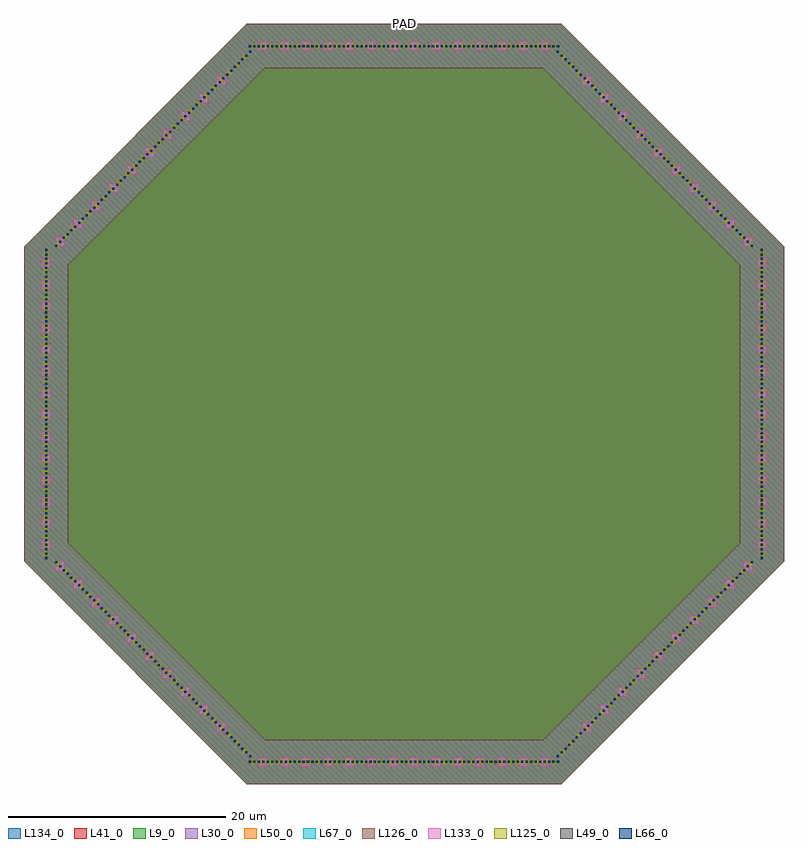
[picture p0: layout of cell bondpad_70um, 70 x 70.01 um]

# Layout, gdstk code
import gdstk
lib = gdstk.Library(unit=1e-6, precision=1e-09)
def R(c, l, rs):  # rectangles x0, y0, x1, y1
    for r in rs: c.add(gdstk.rectangle(r[:2], r[2:], *l))
def A(c, l, x, y, w, h, nx, ny, dx, dy):  # array of equal rectangles
    R(c, l, [(x+i*dx, y+j*dy, x+i*dx+w, y+j*dy+h) for i in range(nx) for j in range(ny)])
def P(c, l, *ps):  # polygons
    for p in ps: c.add(gdstk.Polygon(p, *l))
L9_0 = (9, 0)
L30_0 = (30, 0)
L41_0 = (41, 0)
L49_0 = (49, 0)
L50_0 = (50, 0)
L66_0 = (66, 0)
L67_0 = (67, 0)
L125_0 = (125, 0)
L126_0 = (126, 0)
L133_0 = (133, 0)
L134_0 = (134, 0)

bondpad_70um = lib.new_cell('bondpad_70um')
P(bondpad_70um, L9_0, [(-13.63,-32.9),(-32.9,-13.63),(-32.9,13.63),(-13.63,32.9),(13.63,32.9),(32.9,13.63),(32.9,-13.63),(13.63,-32.9)])
P(bondpad_70um, L30_0, [(-14.5,-35.005),(-35,-14.505),(-35,0),(-30.93,0),(-30.93,-12.815),(-12.815,-30.93),(12.815,-30.93),(30.93,-12.815),(30.93,12.815),(12.815,30.93),(-12.815,30.93),(-30.93,12.815),(-30.93,0),(-35,0),(-35,14.505),(-14.5,35.005),(14.5,35.005),(35,14.505),(35,-14.505),(14.5,-35.005)])
P(bondpad_70um, L41_0, [(-14.5,-35.005),(-35,-14.505),(-35,14.505),(-14.5,35.005),(14.5,35.005),(35,14.505),(35,-14.505),(14.5,-35.005)])
A(bondpad_70um, L49_0, -14.28, -33.06, 0.19, 0.19, 5, 2, 0.41, 65.93)
A(bondpad_70um, L49_0, -12.225, -33.06, 0.19, 0.19, 4, 2, 0.41, 65.93)
A(bondpad_70um, L49_0, -10.58, -33.06, 0.19, 0.19, 4, 2, 0.41, 65.93)
A(bondpad_70um, L49_0, -8.935, -33.06, 0.19, 0.19, 5, 2, 0.41, 65.93)
A(bondpad_70um, L49_0, -6.88, -33.06, 0.19, 0.19, 4, 2, 0.41, 65.93)
A(bondpad_70um, L49_0, -5.235, -33.06, 0.19, 0.19, 4, 2, 0.41, 65.93)
A(bondpad_70um, L49_0, -3.59, -33.06, 0.19, 0.19, 5, 2, 0.41, 65.93)
A(bondpad_70um, L49_0, -1.535, -33.06, 0.19, 0.19, 4, 2, 0.41, 65.93)
A(bondpad_70um, L49_0, 0.11, -33.06, 0.19, 0.19, 4, 2, 0.41, 65.93)
A(bondpad_70um, L49_0, 1.755, -33.06, 0.19, 0.19, 5, 2, 0.41, 65.93)
A(bondpad_70um, L49_0, 3.81, -33.06, 0.19, 0.19, 4, 2, 0.41, 65.93)
A(bondpad_70um, L49_0, 5.455, -33.06, 0.19, 0.19, 4, 2, 0.41, 65.93)
A(bondpad_70um, L49_0, 7.1, -33.06, 0.19, 0.19, 5, 2, 0.41, 65.93)
A(bondpad_70um, L49_0, 9.155, -33.06, 0.19, 0.19, 4, 2, 0.41, 65.93)
A(bondpad_70um, L49_0, 10.8, -33.06, 0.19, 0.19, 4, 2, 0.41, 65.93)
A(bondpad_70um, L49_0, 12.445, -33.06, 0.19, 0.19, 4, 2, 0.41, 65.93)
A(bondpad_70um, L49_0, -33.06, -14.28, 0.19, 0.19, 1, 5, 0, 0.41)
A(bondpad_70um, L49_0, 32.87, -14.28, 0.19, 0.19, 1, 5, 0, 0.41)
A(bondpad_70um, L49_0, -33.06, -12.225, 0.19, 0.19, 1, 4, 0, 0.41)
A(bondpad_70um, L49_0, 32.87, -12.225, 0.19, 0.19, 1, 4, 0, 0.41)
A(bondpad_70um, L49_0, -33.06, -10.58, 0.19, 0.19, 1, 4, 0, 0.41)
A(bondpad_70um, L49_0, 32.87, -10.58, 0.19, 0.19, 1, 4, 0, 0.41)
A(bondpad_70um, L49_0, -33.06, -8.935, 0.19, 0.19, 1, 5, 0, 0.41)
A(bondpad_70um, L49_0, 32.87, -8.935, 0.19, 0.19, 1, 5, 0, 0.41)
A(bondpad_70um, L49_0, -33.06, -6.88, 0.19, 0.19, 1, 4, 0, 0.41)
A(bondpad_70um, L49_0, 32.87, -6.88, 0.19, 0.19, 1, 4, 0, 0.41)
A(bondpad_70um, L49_0, -33.06, -5.235, 0.19, 0.19, 1, 4, 0, 0.41)
A(bondpad_70um, L49_0, 32.87, -5.235, 0.19, 0.19, 1, 4, 0, 0.41)
A(bondpad_70um, L49_0, -33.06, -3.59, 0.19, 0.19, 1, 5, 0, 0.41)
A(bondpad_70um, L49_0, 32.87, -3.59, 0.19, 0.19, 1, 5, 0, 0.41)
A(bondpad_70um, L49_0, -33.06, -1.535, 0.19, 0.19, 1, 4, 0, 0.41)
A(bondpad_70um, L49_0, 32.87, -1.535, 0.19, 0.19, 1, 4, 0, 0.41)
A(bondpad_70um, L49_0, -33.06, 0.11, 0.19, 0.19, 1, 4, 0, 0.41)
A(bondpad_70um, L49_0, 32.87, 0.11, 0.19, 0.19, 1, 4, 0, 0.41)
A(bondpad_70um, L49_0, -33.06, 1.755, 0.19, 0.19, 1, 5, 0, 0.41)
A(bondpad_70um, L49_0, 32.87, 1.755, 0.19, 0.19, 1, 5, 0, 0.41)
A(bondpad_70um, L49_0, -33.06, 3.81, 0.19, 0.19, 1, 4, 0, 0.41)
A(bondpad_70um, L49_0, 32.87, 3.81, 0.19, 0.19, 1, 4, 0, 0.41)
A(bondpad_70um, L49_0, -33.06, 5.455, 0.19, 0.19, 1, 4, 0, 0.41)
A(bondpad_70um, L49_0, 32.87, 5.455, 0.19, 0.19, 1, 4, 0, 0.41)
A(bondpad_70um, L49_0, -33.06, 7.1, 0.19, 0.19, 1, 5, 0, 0.41)
A(bondpad_70um, L49_0, 32.87, 7.1, 0.19, 0.19, 1, 5, 0, 0.41)
A(bondpad_70um, L49_0, -33.06, 9.155, 0.19, 0.19, 1, 4, 0, 0.41)
A(bondpad_70um, L49_0, 32.87, 9.155, 0.19, 0.19, 1, 4, 0, 0.41)
A(bondpad_70um, L49_0, -33.06, 10.8, 0.19, 0.19, 1, 4, 0, 0.41)
A(bondpad_70um, L49_0, 32.87, 10.8, 0.19, 0.19, 1, 4, 0, 0.41)
A(bondpad_70um, L49_0, -33.06, 12.445, 0.19, 0.19, 1, 4, 0, 0.41)
A(bondpad_70um, L49_0, 32.87, 12.445, 0.19, 0.19, 1, 4, 0, 0.41)
R(bondpad_70um, L49_0, [(14.09,-33.06,14.28,-32.87), (-14.275,-32.54,-14.085,-32.35), (14.085,-32.54,14.275,-32.35), (-14.625,-32.19,-14.435,-32), (14.435,-32.19,14.625,-32), (-14.975,-31.84,-14.785,-31.65), (14.785,-31.84,14.975,-31.65), (-15.325,-31.49,-15.135,-31.3), (15.135,-31.49,15.325,-31.3), (-15.675,-31.14,-15.485,-30.95), (15.485,-31.14,15.675,-30.95), (-16.025,-30.79,-15.835,-30.6), (15.835,-30.79,16.025,-30.6), (-16.375,-30.44,-16.185,-30.25), (16.185,-30.44,16.375,-30.25), (-16.725,-30.09,-16.535,-29.9), (16.535,-30.09,16.725,-29.9), (-17.075,-29.74,-16.885,-29.55), (16.885,-29.74,17.075,-29.55), (-17.425,-29.39,-17.235,-29.2), (17.235,-29.39,17.425,-29.2), (-17.775,-29.04,-17.585,-28.85), (17.585,-29.04,17.775,-28.85), (-18.125,-28.69,-17.935,-28.5), (17.935,-28.69,18.125,-28.5), (-18.475,-28.34,-18.285,-28.15), (18.285,-28.34,18.475,-28.15), (-18.825,-27.99,-18.635,-27.8), (18.635,-27.99,18.825,-27.8), (-19.175,-27.64,-18.985,-27.45), (18.985,-27.64,19.175,-27.45), (-19.525,-27.29,-19.335,-27.1), (19.335,-27.29,19.525,-27.1), (-19.875,-26.94,-19.685,-26.75), (19.685,-26.94,19.875,-26.75), (-20.225,-26.59,-20.035,-26.4), (20.035,-26.59,20.225,-26.4), (-20.575,-26.24,-20.385,-26.05), (20.385,-26.24,20.575,-26.05), (-20.925,-25.89,-20.735,-25.7), (20.735,-25.89,20.925,-25.7), (-21.275,-25.54,-21.085,-25.35), (21.085,-25.54,21.275,-25.35), (-21.625,-25.19,-21.435,-25), (21.435,-25.19,21.625,-25), (-21.975,-24.84,-21.785,-24.65), (21.785,-24.84,21.975,-24.65), (-22.325,-24.49,-22.135,-24.3), (22.135,-24.49,22.325,-24.3), (-22.675,-24.14,-22.485,-23.95), (22.485,-24.14,22.675,-23.95), (-23.025,-23.79,-22.835,-23.6), (22.835,-23.79,23.025,-23.6), (-23.375,-23.44,-23.185,-23.25), (23.185,-23.44,23.375,-23.25), (-23.725,-23.09,-23.535,-22.9), (23.535,-23.09,23.725,-22.9), (-24.075,-22.74,-23.885,-22.55), (23.885,-22.74,24.075,-22.55), (-24.425,-22.39,-24.235,-22.2), (24.235,-22.39,24.425,-22.2), (-24.775,-22.04,-24.585,-21.85), (24.585,-22.04,24.775,-21.85), (-25.125,-21.69,-24.935,-21.5), (24.935,-21.69,25.125,-21.5), (-25.475,-21.34,-25.285,-21.15), (25.285,-21.34,25.475,-21.15), (-25.825,-20.99,-25.635,-20.8), (25.635,-20.99,25.825,-20.8), (-26.175,-20.64,-25.985,-20.45), (25.985,-20.64,26.175,-20.45), (-26.525,-20.29,-26.335,-20.1), (26.335,-20.29,26.525,-20.1), (-26.875,-19.94,-26.685,-19.75), (26.685,-19.94,26.875,-19.75), (-27.225,-19.59,-27.035,-19.4), (27.035,-19.59,27.225,-19.4), (-27.575,-19.24,-27.385,-19.05), (27.385,-19.24,27.575,-19.05), (-27.925,-18.89,-27.735,-18.7), (27.735,-18.89,27.925,-18.7), (-28.275,-18.54,-28.085,-18.35), (28.085,-18.54,28.275,-18.35), (-28.625,-18.19,-28.435,-18), (28.435,-18.19,28.625,-18), (-28.975,-17.84,-28.785,-17.65), (28.785,-17.84,28.975,-17.65), (-29.325,-17.49,-29.135,-17.3), (29.135,-17.49,29.325,-17.3), (-29.675,-17.14,-29.485,-16.95), (29.485,-17.14,29.675,-16.95), (-30.025,-16.79,-29.835,-16.6), (29.835,-16.79,30.025,-16.6), (-30.375,-16.44,-30.185,-16.25), (30.185,-16.44,30.375,-16.25), (-30.725,-16.09,-30.535,-15.9), (30.535,-16.09,30.725,-15.9), (-31.075,-15.74,-30.885,-15.55), (30.885,-15.74,31.075,-15.55), (-31.425,-15.39,-31.235,-15.2), (31.235,-15.39,31.425,-15.2), (-31.775,-15.04,-31.585,-14.85), (31.585,-15.04,31.775,-14.85), (-32.125,-14.69,-31.935,-14.5), (31.935,-14.69,32.125,-14.5), (-33.06,14.09,-32.87,14.28), (32.87,14.09,33.06,14.28), (-32.125,14.5,-31.935,14.69), (31.935,14.5,32.125,14.69), (-31.775,14.85,-31.585,15.04), (31.585,14.85,31.775,15.04), (-31.425,15.2,-31.235,15.39), (31.235,15.2,31.425,15.39), (-31.075,15.55,-30.885,15.74), (30.885,15.55,31.075,15.74), (-30.725,15.9,-30.535,16.09), (30.535,15.9,30.725,16.09), (-30.375,16.25,-30.185,16.44), (30.185,16.25,30.375,16.44), (-30.025,16.6,-29.835,16.79), (29.835,16.6,30.025,16.79), (-29.675,16.95,-29.485,17.14), (29.485,16.95,29.675,17.14), (-29.325,17.3,-29.135,17.49), (29.135,17.3,29.325,17.49), (-28.975,17.65,-28.785,17.84), (28.785,17.65,28.975,17.84), (-28.625,18,-28.435,18.19), (28.435,18,28.625,18.19), (-28.275,18.35,-28.085,18.54), (28.085,18.35,28.275,18.54), (-27.925,18.7,-27.735,18.89), (27.735,18.7,27.925,18.89), (-27.575,19.05,-27.385,19.24), (27.385,19.05,27.575,19.24), (-27.225,19.4,-27.035,19.59), (27.035,19.4,27.225,19.59), (-26.875,19.75,-26.685,19.94), (26.685,19.75,26.875,19.94), (-26.525,20.1,-26.335,20.29), (26.335,20.1,26.525,20.29), (-26.175,20.45,-25.985,20.64), (25.985,20.45,26.175,20.64), (-25.825,20.8,-25.635,20.99), (25.635,20.8,25.825,20.99), (-25.475,21.15,-25.285,21.34), (25.285,21.15,25.475,21.34), (-25.125,21.5,-24.935,21.69), (24.935,21.5,25.125,21.69), (-24.775,21.85,-24.585,22.04), (24.585,21.85,24.775,22.04), (-24.425,22.2,-24.235,22.39), (24.235,22.2,24.425,22.39), (-24.075,22.55,-23.885,22.74), (23.885,22.55,24.075,22.74), (-23.725,22.9,-23.535,23.09), (23.535,22.9,23.725,23.09), (-23.375,23.25,-23.185,23.44), (23.185,23.25,23.375,23.44), (-23.025,23.6,-22.835,23.79), (22.835,23.6,23.025,23.79), (-22.675,23.95,-22.485,24.14), (22.485,23.95,22.675,24.14), (-22.325,24.3,-22.135,24.49), (22.135,24.3,22.325,24.49), (-21.975,24.65,-21.785,24.84), (21.785,24.65,21.975,24.84), (-21.625,25,-21.435,25.19), (21.435,25,21.625,25.19), (-21.275,25.35,-21.085,25.54), (21.085,25.35,21.275,25.54), (-20.925,25.7,-20.735,25.89), (20.735,25.7,20.925,25.89), (-20.575,26.05,-20.385,26.24), (20.385,26.05,20.575,26.24), (-20.225,26.4,-20.035,26.59), (20.035,26.4,20.225,26.59), (-19.875,26.75,-19.685,26.94), (19.685,26.75,19.875,26.94), (-19.525,27.1,-19.335,27.29), (19.335,27.1,19.525,27.29), (-19.175,27.45,-18.985,27.64), (18.985,27.45,19.175,27.64), (-18.825,27.8,-18.635,27.99), (18.635,27.8,18.825,27.99), (-18.475,28.15,-18.285,28.34), (18.285,28.15,18.475,28.34), (-18.125,28.5,-17.935,28.69), (17.935,28.5,18.125,28.69), (-17.775,28.85,-17.585,29.04), (17.585,28.85,17.775,29.04), (-17.425,29.2,-17.235,29.39), (17.235,29.2,17.425,29.39), (-17.075,29.55,-16.885,29.74), (16.885,29.55,17.075,29.74), (-16.725,29.9,-16.535,30.09), (16.535,29.9,16.725,30.09), (-16.375,30.25,-16.185,30.44), (16.185,30.25,16.375,30.44), (-16.025,30.6,-15.835,30.79), (15.835,30.6,16.025,30.79), (-15.675,30.95,-15.485,31.14), (15.485,30.95,15.675,31.14), (-15.325,31.3,-15.135,31.49), (15.135,31.3,15.325,31.49), (-14.975,31.65,-14.785,31.84), (14.785,31.65,14.975,31.84), (-14.625,32,-14.435,32.19), (14.435,32,14.625,32.19), (-14.275,32.35,-14.085,32.54), (14.085,32.35,14.275,32.54), (14.09,32.87,14.28,33.06)])
P(bondpad_70um, L50_0, [(-14.5,-35.005),(-35,-14.505),(-35,0),(-30.93,0),(-30.93,-12.815),(-12.815,-30.93),(12.815,-30.93),(30.93,-12.815),(30.93,12.815),(12.815,30.93),(-12.815,30.93),(-30.93,12.815),(-30.93,0),(-35,0),(-35,14.505),(-14.5,35.005),(14.5,35.005),(35,14.505),(35,-14.505),(14.5,-35.005)])
A(bondpad_70um, L66_0, -14.28, -33.06, 0.19, 0.19, 5, 2, 0.41, 65.93)
A(bondpad_70um, L66_0, -12.225, -33.06, 0.19, 0.19, 4, 2, 0.41, 65.93)
A(bondpad_70um, L66_0, -10.58, -33.06, 0.19, 0.19, 4, 2, 0.41, 65.93)
A(bondpad_70um, L66_0, -8.935, -33.06, 0.19, 0.19, 5, 2, 0.41, 65.93)
A(bondpad_70um, L66_0, -6.88, -33.06, 0.19, 0.19, 4, 2, 0.41, 65.93)
A(bondpad_70um, L66_0, -5.235, -33.06, 0.19, 0.19, 4, 2, 0.41, 65.93)
A(bondpad_70um, L66_0, -3.59, -33.06, 0.19, 0.19, 5, 2, 0.41, 65.93)
A(bondpad_70um, L66_0, -1.535, -33.06, 0.19, 0.19, 4, 2, 0.41, 65.93)
A(bondpad_70um, L66_0, 0.11, -33.06, 0.19, 0.19, 4, 2, 0.41, 65.93)
A(bondpad_70um, L66_0, 1.755, -33.06, 0.19, 0.19, 5, 2, 0.41, 65.93)
A(bondpad_70um, L66_0, 3.81, -33.06, 0.19, 0.19, 4, 2, 0.41, 65.93)
A(bondpad_70um, L66_0, 5.455, -33.06, 0.19, 0.19, 4, 2, 0.41, 65.93)
A(bondpad_70um, L66_0, 7.1, -33.06, 0.19, 0.19, 5, 2, 0.41, 65.93)
A(bondpad_70um, L66_0, 9.155, -33.06, 0.19, 0.19, 4, 2, 0.41, 65.93)
A(bondpad_70um, L66_0, 10.8, -33.06, 0.19, 0.19, 4, 2, 0.41, 65.93)
A(bondpad_70um, L66_0, 12.445, -33.06, 0.19, 0.19, 4, 2, 0.41, 65.93)
A(bondpad_70um, L66_0, -33.06, -14.28, 0.19, 0.19, 1, 5, 0, 0.41)
A(bondpad_70um, L66_0, 32.87, -14.28, 0.19, 0.19, 1, 5, 0, 0.41)
A(bondpad_70um, L66_0, -33.06, -12.225, 0.19, 0.19, 1, 4, 0, 0.41)
A(bondpad_70um, L66_0, 32.87, -12.225, 0.19, 0.19, 1, 4, 0, 0.41)
A(bondpad_70um, L66_0, -33.06, -10.58, 0.19, 0.19, 1, 4, 0, 0.41)
A(bondpad_70um, L66_0, 32.87, -10.58, 0.19, 0.19, 1, 4, 0, 0.41)
A(bondpad_70um, L66_0, -33.06, -8.935, 0.19, 0.19, 1, 5, 0, 0.41)
A(bondpad_70um, L66_0, 32.87, -8.935, 0.19, 0.19, 1, 5, 0, 0.41)
A(bondpad_70um, L66_0, -33.06, -6.88, 0.19, 0.19, 1, 4, 0, 0.41)
A(bondpad_70um, L66_0, 32.87, -6.88, 0.19, 0.19, 1, 4, 0, 0.41)
A(bondpad_70um, L66_0, -33.06, -5.235, 0.19, 0.19, 1, 4, 0, 0.41)
A(bondpad_70um, L66_0, 32.87, -5.235, 0.19, 0.19, 1, 4, 0, 0.41)
A(bondpad_70um, L66_0, -33.06, -3.59, 0.19, 0.19, 1, 5, 0, 0.41)
A(bondpad_70um, L66_0, 32.87, -3.59, 0.19, 0.19, 1, 5, 0, 0.41)
A(bondpad_70um, L66_0, -33.06, -1.535, 0.19, 0.19, 1, 4, 0, 0.41)
A(bondpad_70um, L66_0, 32.87, -1.535, 0.19, 0.19, 1, 4, 0, 0.41)
A(bondpad_70um, L66_0, -33.06, 0.11, 0.19, 0.19, 1, 4, 0, 0.41)
A(bondpad_70um, L66_0, 32.87, 0.11, 0.19, 0.19, 1, 4, 0, 0.41)
A(bondpad_70um, L66_0, -33.06, 1.755, 0.19, 0.19, 1, 5, 0, 0.41)
A(bondpad_70um, L66_0, 32.87, 1.755, 0.19, 0.19, 1, 5, 0, 0.41)
A(bondpad_70um, L66_0, -33.06, 3.81, 0.19, 0.19, 1, 4, 0, 0.41)
A(bondpad_70um, L66_0, 32.87, 3.81, 0.19, 0.19, 1, 4, 0, 0.41)
A(bondpad_70um, L66_0, -33.06, 5.455, 0.19, 0.19, 1, 4, 0, 0.41)
A(bondpad_70um, L66_0, 32.87, 5.455, 0.19, 0.19, 1, 4, 0, 0.41)
A(bondpad_70um, L66_0, -33.06, 7.1, 0.19, 0.19, 1, 5, 0, 0.41)
A(bondpad_70um, L66_0, 32.87, 7.1, 0.19, 0.19, 1, 5, 0, 0.41)
A(bondpad_70um, L66_0, -33.06, 9.155, 0.19, 0.19, 1, 4, 0, 0.41)
A(bondpad_70um, L66_0, 32.87, 9.155, 0.19, 0.19, 1, 4, 0, 0.41)
A(bondpad_70um, L66_0, -33.06, 10.8, 0.19, 0.19, 1, 4, 0, 0.41)
A(bondpad_70um, L66_0, 32.87, 10.8, 0.19, 0.19, 1, 4, 0, 0.41)
A(bondpad_70um, L66_0, -33.06, 12.445, 0.19, 0.19, 1, 4, 0, 0.41)
A(bondpad_70um, L66_0, 32.87, 12.445, 0.19, 0.19, 1, 4, 0, 0.41)
R(bondpad_70um, L66_0, [(14.09,-33.06,14.28,-32.87), (-14.275,-32.54,-14.085,-32.35), (14.085,-32.54,14.275,-32.35), (-14.625,-32.19,-14.435,-32), (14.435,-32.19,14.625,-32), (-14.975,-31.84,-14.785,-31.65), (14.785,-31.84,14.975,-31.65), (-15.325,-31.49,-15.135,-31.3), (15.135,-31.49,15.325,-31.3), (-15.675,-31.14,-15.485,-30.95), (15.485,-31.14,15.675,-30.95), (-16.025,-30.79,-15.835,-30.6), (15.835,-30.79,16.025,-30.6), (-16.375,-30.44,-16.185,-30.25), (16.185,-30.44,16.375,-30.25), (-16.725,-30.09,-16.535,-29.9), (16.535,-30.09,16.725,-29.9), (-17.075,-29.74,-16.885,-29.55), (16.885,-29.74,17.075,-29.55), (-17.425,-29.39,-17.235,-29.2), (17.235,-29.39,17.425,-29.2), (-17.775,-29.04,-17.585,-28.85), (17.585,-29.04,17.775,-28.85), (-18.125,-28.69,-17.935,-28.5), (17.935,-28.69,18.125,-28.5), (-18.475,-28.34,-18.285,-28.15), (18.285,-28.34,18.475,-28.15), (-18.825,-27.99,-18.635,-27.8), (18.635,-27.99,18.825,-27.8), (-19.175,-27.64,-18.985,-27.45), (18.985,-27.64,19.175,-27.45), (-19.525,-27.29,-19.335,-27.1), (19.335,-27.29,19.525,-27.1), (-19.875,-26.94,-19.685,-26.75), (19.685,-26.94,19.875,-26.75), (-20.225,-26.59,-20.035,-26.4), (20.035,-26.59,20.225,-26.4), (-20.575,-26.24,-20.385,-26.05), (20.385,-26.24,20.575,-26.05), (-20.925,-25.89,-20.735,-25.7), (20.735,-25.89,20.925,-25.7), (-21.275,-25.54,-21.085,-25.35), (21.085,-25.54,21.275,-25.35), (-21.625,-25.19,-21.435,-25), (21.435,-25.19,21.625,-25), (-21.975,-24.84,-21.785,-24.65), (21.785,-24.84,21.975,-24.65), (-22.325,-24.49,-22.135,-24.3), (22.135,-24.49,22.325,-24.3), (-22.675,-24.14,-22.485,-23.95), (22.485,-24.14,22.675,-23.95), (-23.025,-23.79,-22.835,-23.6), (22.835,-23.79,23.025,-23.6), (-23.375,-23.44,-23.185,-23.25), (23.185,-23.44,23.375,-23.25), (-23.725,-23.09,-23.535,-22.9), (23.535,-23.09,23.725,-22.9), (-24.075,-22.74,-23.885,-22.55), (23.885,-22.74,24.075,-22.55), (-24.425,-22.39,-24.235,-22.2), (24.235,-22.39,24.425,-22.2), (-24.775,-22.04,-24.585,-21.85), (24.585,-22.04,24.775,-21.85), (-25.125,-21.69,-24.935,-21.5), (24.935,-21.69,25.125,-21.5), (-25.475,-21.34,-25.285,-21.15), (25.285,-21.34,25.475,-21.15), (-25.825,-20.99,-25.635,-20.8), (25.635,-20.99,25.825,-20.8), (-26.175,-20.64,-25.985,-20.45), (25.985,-20.64,26.175,-20.45), (-26.525,-20.29,-26.335,-20.1), (26.335,-20.29,26.525,-20.1), (-26.875,-19.94,-26.685,-19.75), (26.685,-19.94,26.875,-19.75), (-27.225,-19.59,-27.035,-19.4), (27.035,-19.59,27.225,-19.4), (-27.575,-19.24,-27.385,-19.05), (27.385,-19.24,27.575,-19.05), (-27.925,-18.89,-27.735,-18.7), (27.735,-18.89,27.925,-18.7), (-28.275,-18.54,-28.085,-18.35), (28.085,-18.54,28.275,-18.35), (-28.625,-18.19,-28.435,-18), (28.435,-18.19,28.625,-18), (-28.975,-17.84,-28.785,-17.65), (28.785,-17.84,28.975,-17.65), (-29.325,-17.49,-29.135,-17.3), (29.135,-17.49,29.325,-17.3), (-29.675,-17.14,-29.485,-16.95), (29.485,-17.14,29.675,-16.95), (-30.025,-16.79,-29.835,-16.6), (29.835,-16.79,30.025,-16.6), (-30.375,-16.44,-30.185,-16.25), (30.185,-16.44,30.375,-16.25), (-30.725,-16.09,-30.535,-15.9), (30.535,-16.09,30.725,-15.9), (-31.075,-15.74,-30.885,-15.55), (30.885,-15.74,31.075,-15.55), (-31.425,-15.39,-31.235,-15.2), (31.235,-15.39,31.425,-15.2), (-31.775,-15.04,-31.585,-14.85), (31.585,-15.04,31.775,-14.85), (-32.125,-14.69,-31.935,-14.5), (31.935,-14.69,32.125,-14.5), (-33.06,14.09,-32.87,14.28), (32.87,14.09,33.06,14.28), (-32.125,14.5,-31.935,14.69), (31.935,14.5,32.125,14.69), (-31.775,14.85,-31.585,15.04), (31.585,14.85,31.775,15.04), (-31.425,15.2,-31.235,15.39), (31.235,15.2,31.425,15.39), (-31.075,15.55,-30.885,15.74), (30.885,15.55,31.075,15.74), (-30.725,15.9,-30.535,16.09), (30.535,15.9,30.725,16.09), (-30.375,16.25,-30.185,16.44), (30.185,16.25,30.375,16.44), (-30.025,16.6,-29.835,16.79), (29.835,16.6,30.025,16.79), (-29.675,16.95,-29.485,17.14), (29.485,16.95,29.675,17.14), (-29.325,17.3,-29.135,17.49), (29.135,17.3,29.325,17.49), (-28.975,17.65,-28.785,17.84), (28.785,17.65,28.975,17.84), (-28.625,18,-28.435,18.19), (28.435,18,28.625,18.19), (-28.275,18.35,-28.085,18.54), (28.085,18.35,28.275,18.54), (-27.925,18.7,-27.735,18.89), (27.735,18.7,27.925,18.89), (-27.575,19.05,-27.385,19.24), (27.385,19.05,27.575,19.24), (-27.225,19.4,-27.035,19.59), (27.035,19.4,27.225,19.59), (-26.875,19.75,-26.685,19.94), (26.685,19.75,26.875,19.94), (-26.525,20.1,-26.335,20.29), (26.335,20.1,26.525,20.29), (-26.175,20.45,-25.985,20.64), (25.985,20.45,26.175,20.64), (-25.825,20.8,-25.635,20.99), (25.635,20.8,25.825,20.99), (-25.475,21.15,-25.285,21.34), (25.285,21.15,25.475,21.34), (-25.125,21.5,-24.935,21.69), (24.935,21.5,25.125,21.69), (-24.775,21.85,-24.585,22.04), (24.585,21.85,24.775,22.04), (-24.425,22.2,-24.235,22.39), (24.235,22.2,24.425,22.39), (-24.075,22.55,-23.885,22.74), (23.885,22.55,24.075,22.74), (-23.725,22.9,-23.535,23.09), (23.535,22.9,23.725,23.09), (-23.375,23.25,-23.185,23.44), (23.185,23.25,23.375,23.44), (-23.025,23.6,-22.835,23.79), (22.835,23.6,23.025,23.79), (-22.675,23.95,-22.485,24.14), (22.485,23.95,22.675,24.14), (-22.325,24.3,-22.135,24.49), (22.135,24.3,22.325,24.49), (-21.975,24.65,-21.785,24.84), (21.785,24.65,21.975,24.84), (-21.625,25,-21.435,25.19), (21.435,25,21.625,25.19), (-21.275,25.35,-21.085,25.54), (21.085,25.35,21.275,25.54), (-20.925,25.7,-20.735,25.89), (20.735,25.7,20.925,25.89), (-20.575,26.05,-20.385,26.24), (20.385,26.05,20.575,26.24), (-20.225,26.4,-20.035,26.59), (20.035,26.4,20.225,26.59), (-19.875,26.75,-19.685,26.94), (19.685,26.75,19.875,26.94), (-19.525,27.1,-19.335,27.29), (19.335,27.1,19.525,27.29), (-19.175,27.45,-18.985,27.64), (18.985,27.45,19.175,27.64), (-18.825,27.8,-18.635,27.99), (18.635,27.8,18.825,27.99), (-18.475,28.15,-18.285,28.34), (18.285,28.15,18.475,28.34), (-18.125,28.5,-17.935,28.69), (17.935,28.5,18.125,28.69), (-17.775,28.85,-17.585,29.04), (17.585,28.85,17.775,29.04), (-17.425,29.2,-17.235,29.39), (17.235,29.2,17.425,29.39), (-17.075,29.55,-16.885,29.74), (16.885,29.55,17.075,29.74), (-16.725,29.9,-16.535,30.09), (16.535,29.9,16.725,30.09), (-16.375,30.25,-16.185,30.44), (16.185,30.25,16.375,30.44), (-16.025,30.6,-15.835,30.79), (15.835,30.6,16.025,30.79), (-15.675,30.95,-15.485,31.14), (15.485,30.95,15.675,31.14), (-15.325,31.3,-15.135,31.49), (15.135,31.3,15.325,31.49), (-14.975,31.65,-14.785,31.84), (14.785,31.65,14.975,31.84), (-14.625,32,-14.435,32.19), (14.435,32,14.625,32.19), (-14.275,32.35,-14.085,32.54), (14.085,32.35,14.275,32.54), (14.09,32.87,14.28,33.06)])
P(bondpad_70um, L67_0, [(-14.5,-35.005),(-35,-14.505),(-35,0),(-30.93,0),(-30.93,-12.815),(-12.815,-30.93),(12.815,-30.93),(30.93,-12.815),(30.93,12.815),(12.815,30.93),(-12.815,30.93),(-30.93,12.815),(-30.93,0),(-35,0),(-35,14.505),(-14.5,35.005),(14.5,35.005),(35,14.505),(35,-14.505),(14.5,-35.005)])
A(bondpad_70um, L125_0, -14.08, -33.175, 0.42, 0.42, 9, 2, 0.84, 65.93)
A(bondpad_70um, L125_0, -6.515, -33.175, 0.42, 0.42, 8, 2, 0.84, 65.93)
A(bondpad_70um, L125_0, 0.21, -33.175, 0.42, 0.42, 8, 2, 0.84, 65.93)
A(bondpad_70um, L125_0, 6.935, -33.175, 0.42, 0.42, 8, 2, 0.84, 65.93)
A(bondpad_70um, L125_0, -33.175, -14.08, 0.42, 0.42, 1, 9, 0, 0.84)
A(bondpad_70um, L125_0, 32.755, -14.08, 0.42, 0.42, 1, 9, 0, 0.84)
A(bondpad_70um, L125_0, -33.175, -6.515, 0.42, 0.42, 1, 8, 0, 0.84)
A(bondpad_70um, L125_0, 32.755, -6.515, 0.42, 0.42, 1, 8, 0, 0.84)
A(bondpad_70um, L125_0, -33.175, 0.21, 0.42, 0.42, 1, 8, 0, 0.84)
A(bondpad_70um, L125_0, 32.755, 0.21, 0.42, 0.42, 1, 8, 0, 0.84)
A(bondpad_70um, L125_0, -33.175, 6.935, 0.42, 0.42, 1, 8, 0, 0.84)
A(bondpad_70um, L125_0, 32.755, 6.935, 0.42, 0.42, 1, 8, 0, 0.84)
R(bondpad_70um, L125_0, [(13.66,-33.175,14.08,-32.755), (-14.845,-32.2,-14.425,-31.78), (14.425,-32.2,14.845,-31.78), (-15.565,-31.48,-15.145,-31.06), (15.145,-31.48,15.565,-31.06), (-16.285,-30.76,-15.865,-30.34), (15.865,-30.76,16.285,-30.34), (-17.005,-30.04,-16.585,-29.62), (16.585,-30.04,17.005,-29.62), (-17.725,-29.32,-17.305,-28.9), (17.305,-29.32,17.725,-28.9), (-18.445,-28.6,-18.025,-28.18), (18.025,-28.6,18.445,-28.18), (-19.165,-27.88,-18.745,-27.46), (18.745,-27.88,19.165,-27.46), (-19.885,-27.16,-19.465,-26.74), (19.465,-27.16,19.885,-26.74), (-20.605,-26.44,-20.185,-26.02), (20.185,-26.44,20.605,-26.02), (-21.325,-25.72,-20.905,-25.3), (20.905,-25.72,21.325,-25.3), (-22.045,-25,-21.625,-24.58), (21.625,-25,22.045,-24.58), (-22.765,-24.28,-22.345,-23.86), (22.345,-24.28,22.765,-23.86), (-23.485,-23.56,-23.065,-23.14), (23.065,-23.56,23.485,-23.14), (-24.205,-22.84,-23.785,-22.42), (23.785,-22.84,24.205,-22.42), (-24.925,-22.12,-24.505,-21.7), (24.505,-22.12,24.925,-21.7), (-25.645,-21.4,-25.225,-20.98), (25.225,-21.4,25.645,-20.98), (-26.365,-20.68,-25.945,-20.26), (25.945,-20.68,26.365,-20.26), (-27.085,-19.96,-26.665,-19.54), (26.665,-19.96,27.085,-19.54), (-27.805,-19.24,-27.385,-18.82), (27.385,-19.24,27.805,-18.82), (-28.525,-18.52,-28.105,-18.1), (28.105,-18.52,28.525,-18.1), (-29.245,-17.8,-28.825,-17.38), (28.825,-17.8,29.245,-17.38), (-29.965,-17.08,-29.545,-16.66), (29.545,-17.08,29.965,-16.66), (-30.685,-16.36,-30.265,-15.94), (30.265,-16.36,30.685,-15.94), (-31.405,-15.64,-30.985,-15.22), (30.985,-15.64,31.405,-15.22), (-32.125,-14.92,-31.705,-14.5), (31.705,-14.92,32.125,-14.5), (-33.175,13.66,-32.755,14.08), (32.755,13.66,33.175,14.08), (-32.125,14.5,-31.705,14.92), (31.705,14.5,32.125,14.92), (-31.405,15.22,-30.985,15.64), (30.985,15.22,31.405,15.64), (-30.685,15.94,-30.265,16.36), (30.265,15.94,30.685,16.36), (-29.965,16.66,-29.545,17.08), (29.545,16.66,29.965,17.08), (-29.245,17.38,-28.825,17.8), (28.825,17.38,29.245,17.8), (-28.525,18.1,-28.105,18.52), (28.105,18.1,28.525,18.52), (-27.805,18.82,-27.385,19.24), (27.385,18.82,27.805,19.24), (-27.085,19.54,-26.665,19.96), (26.665,19.54,27.085,19.96), (-26.365,20.26,-25.945,20.68), (25.945,20.26,26.365,20.68), (-25.645,20.98,-25.225,21.4), (25.225,20.98,25.645,21.4), (-24.925,21.7,-24.505,22.12), (24.505,21.7,24.925,22.12), (-24.205,22.42,-23.785,22.84), (23.785,22.42,24.205,22.84), (-23.485,23.14,-23.065,23.56), (23.065,23.14,23.485,23.56), (-22.765,23.86,-22.345,24.28), (22.345,23.86,22.765,24.28), (-22.045,24.58,-21.625,25), (21.625,24.58,22.045,25), (-21.325,25.3,-20.905,25.72), (20.905,25.3,21.325,25.72), (-20.605,26.02,-20.185,26.44), (20.185,26.02,20.605,26.44), (-19.885,26.74,-19.465,27.16), (19.465,26.74,19.885,27.16), (-19.165,27.46,-18.745,27.88), (18.745,27.46,19.165,27.88), (-18.445,28.18,-18.025,28.6), (18.025,28.18,18.445,28.6), (-17.725,28.9,-17.305,29.32), (17.305,28.9,17.725,29.32), (-17.005,29.62,-16.585,30.04), (16.585,29.62,17.005,30.04), (-16.285,30.34,-15.865,30.76), (15.865,30.34,16.285,30.76), (-15.565,31.06,-15.145,31.48), (15.145,31.06,15.565,31.48), (-14.845,31.78,-14.425,32.2), (14.425,31.78,14.845,32.2), (13.66,32.755,14.08,33.175)])
P(bondpad_70um, L126_0, [(-14.5,-35.005),(-35,-14.505),(-35,0),(-30.93,0),(-30.93,-12.815),(-12.815,-30.93),(12.815,-30.93),(30.93,-12.815),(30.93,12.815),(12.815,30.93),(-12.815,30.93),(-30.93,12.815),(-30.93,0),(-35,0),(-35,14.505),(-14.5,35.005),(14.5,35.005),(35,14.505),(35,-14.505),(14.5,-35.005)])
A(bondpad_70um, L133_0, -11.445, -33.415, 0.9, 0.9, 3, 2, 2, 65.93)
A(bondpad_70um, L133_0, -5.45, -33.415, 0.9, 0.9, 3, 2, 2, 65.93)
A(bondpad_70um, L133_0, 0.545, -33.415, 0.9, 0.9, 3, 2, 2, 65.93)
A(bondpad_70um, L133_0, 6.54, -33.415, 0.9, 0.9, 4, 2, 2, 65.93)
A(bondpad_70um, L133_0, -33.415, -11.445, 0.9, 0.9, 1, 3, 0, 2)
A(bondpad_70um, L133_0, 32.515, -11.445, 0.9, 0.9, 1, 3, 0, 2)
A(bondpad_70um, L133_0, -33.415, -5.45, 0.9, 0.9, 1, 3, 0, 2)
A(bondpad_70um, L133_0, 32.515, -5.45, 0.9, 0.9, 1, 3, 0, 2)
A(bondpad_70um, L133_0, -33.415, 0.545, 0.9, 0.9, 1, 3, 0, 2)
A(bondpad_70um, L133_0, 32.515, 0.545, 0.9, 0.9, 1, 3, 0, 2)
A(bondpad_70um, L133_0, -33.415, 6.54, 0.9, 0.9, 1, 4, 0, 2)
A(bondpad_70um, L133_0, 32.515, 6.54, 0.9, 0.9, 1, 4, 0, 2)
R(bondpad_70um, L133_0, [(-13.44,-33.415,-12.54,-32.515), (-17.275,-30.25,-16.375,-29.35), (16.375,-30.25,17.275,-29.35), (-18.925,-28.6,-18.025,-27.7), (18.025,-28.6,18.925,-27.7), (-20.575,-26.95,-19.675,-26.05), (19.675,-26.95,20.575,-26.05), (-22.225,-25.3,-21.325,-24.4), (21.325,-25.3,22.225,-24.4), (-23.875,-23.65,-22.975,-22.75), (22.975,-23.65,23.875,-22.75), (-25.525,-22,-24.625,-21.1), (24.625,-22,25.525,-21.1), (-27.175,-20.35,-26.275,-19.45), (26.275,-20.35,27.175,-19.45), (-28.825,-18.7,-27.925,-17.8), (27.925,-18.7,28.825,-17.8), (-30.475,-17.05,-29.575,-16.15), (29.575,-17.05,30.475,-16.15), (-32.125,-15.4,-31.225,-14.5), (31.225,-15.4,32.125,-14.5), (-33.415,-13.44,-32.515,-12.54), (32.515,-13.44,33.415,-12.54), (-32.125,14.5,-31.225,15.4), (31.225,14.5,32.125,15.4), (-30.475,16.15,-29.575,17.05), (29.575,16.15,30.475,17.05), (-28.825,17.8,-27.925,18.7), (27.925,17.8,28.825,18.7), (-27.175,19.45,-26.275,20.35), (26.275,19.45,27.175,20.35), (-25.525,21.1,-24.625,22), (24.625,21.1,25.525,22), (-23.875,22.75,-22.975,23.65), (22.975,22.75,23.875,23.65), (-22.225,24.4,-21.325,25.3), (21.325,24.4,22.225,25.3), (-20.575,26.05,-19.675,26.95), (19.675,26.05,20.575,26.95), (-18.925,27.7,-18.025,28.6), (18.025,27.7,18.925,28.6), (-17.275,29.35,-16.375,30.25), (16.375,29.35,17.275,30.25), (-13.44,32.515,-12.54,33.415)])
P(bondpad_70um, L134_0, [(-14.5,-35.005),(-35,-14.505),(-35,14.505),(-14.5,35.005),(14.5,35.005),(35,14.505),(35,-14.505),(14.5,-35.005)])
bondpad_70um.add(gdstk.Label('PAD', (0,35.005), layer=134, texttype=25))

lib.write_gds('bondpad_70um.gds')
